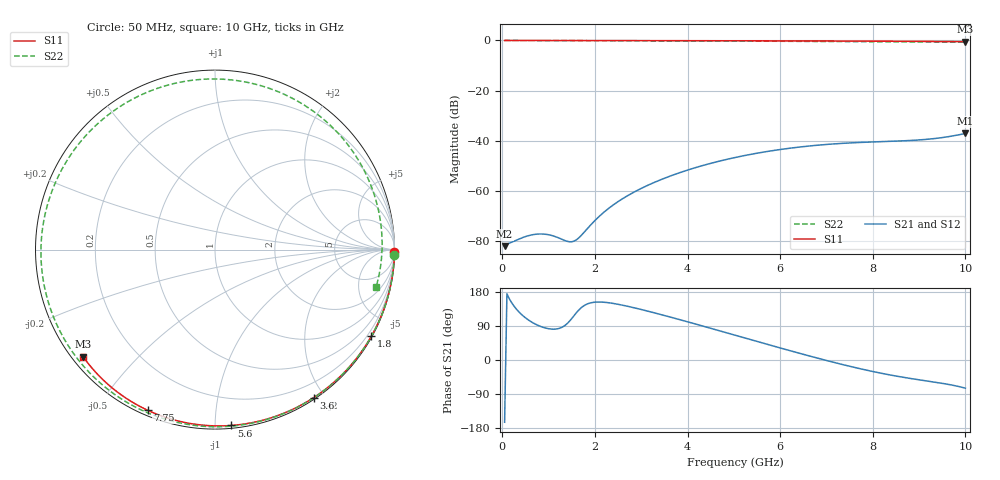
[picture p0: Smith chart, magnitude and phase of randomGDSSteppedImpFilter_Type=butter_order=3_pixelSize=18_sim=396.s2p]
! freq	dB(S11)	phase(S11)	dB(S12)	phase(S12)
!  dB(S21)	phase(S21)	dB(S22)	phase(S22)
!S-par simulation data
#  GHz  S  DB  R 50
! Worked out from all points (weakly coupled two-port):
!   200 points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, 50 MHz to 10 GHz, reference 50 ohm
!   highest |S21| = -37.11 dB at 10 GHz (marker M1); lowest = -82.1 dB at 50 MHz (marker M2)
!   lowest |S11| = -0.5 dB at 10 GHz (marker M3), VSWR 36.36, Z = 1.55 - j17.8 ohm
!   |S11| at or under -10 dB: nowhere
!   |S22| runs from -0.7 to 0.0 dB; largest |S21 - S12| = 0
!   S11 on the Smith chart (normalised r, x): 50 MHz: open; 1.8 GHz: 0.03, -3.88; 3.6 GHz: 0.02, -1.87; 5.6 GHz: 0.02, -1.10; 7.75 GHz: 0.02, -0.66; 10 GHz: 0.03, -0.36
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0.05  -0.00 -0.8  -82.07 -164.3  -82.07 -164.3  -0.00 -1.8
0.85  -0.02 -13.8  -77.22 87.5  -77.22 87.5  -0.03 -30.4
1.55  -0.03 -24.9  -80.06 117.2  -80.06 117.2  -0.07 -54.9
1.75  -0.04 -28.1  -76.89 142.2  -76.89 142.2  -0.08 -61.7
1.8  -0.04 -28.9  -75.85 145.9  -75.85 145.9  -0.08 -63.5
2.1  -0.04 -33.6  -70.07 153.0  -70.07 153.0  -0.09 -73.7
2.45  -0.05 -39.0  -64.92 148.2  -64.92 148.2  -0.11 -85.5
2.9  -0.06 -45.9  -59.96 136.3  -59.96 136.3  -0.13 -100.5
3.4  -0.07 -53.4  -55.72 120.7  -55.72 120.7  -0.15 -117.0
3.6  -0.08 -56.4  -54.28 114.2  -54.28 114.2  -0.16 -123.6
4.35  -0.10 -67.3  -49.78 88.9  -49.78 88.9  -0.20 -148.7
5.05  -0.12 -77.2  -46.61 64.6  -46.61 64.6  -0.25 -172.7
5.6  -0.14 -84.7  -44.66 45.5  -44.66 45.5  -0.29 167.5
6.15  -0.16 -92.1  -43.13 26.7  -43.13 26.7  -0.34 146.6
6.7  -0.19 -99.3  -41.97 8.4  -41.97 8.4  -0.38 124.7
7.25  -0.23 -106.4  -41.16 -9.1  -41.16 -9.1  -0.42 101.6
7.75  -0.26 -112.8  -40.67 -23.7  -40.67 -23.7  -0.45 79.9
8.35  -0.31 -120.3  -40.26 -38.9  -40.26 -38.9  -0.49 53.8
8.75  -0.34 -125.3  -39.96 -47.5  -39.96 -47.5  -0.51 36.6
9.15  -0.38 -130.2  -39.47 -55.1  -39.47 -55.1  -0.55 19.9
9.55  -0.42 -135.2  -38.62 -62.6  -38.62 -62.6  -0.61 3.9
10  -0.48 -140.9  -37.11 -74.4  -37.11 -74.4  -0.71 -13.2
